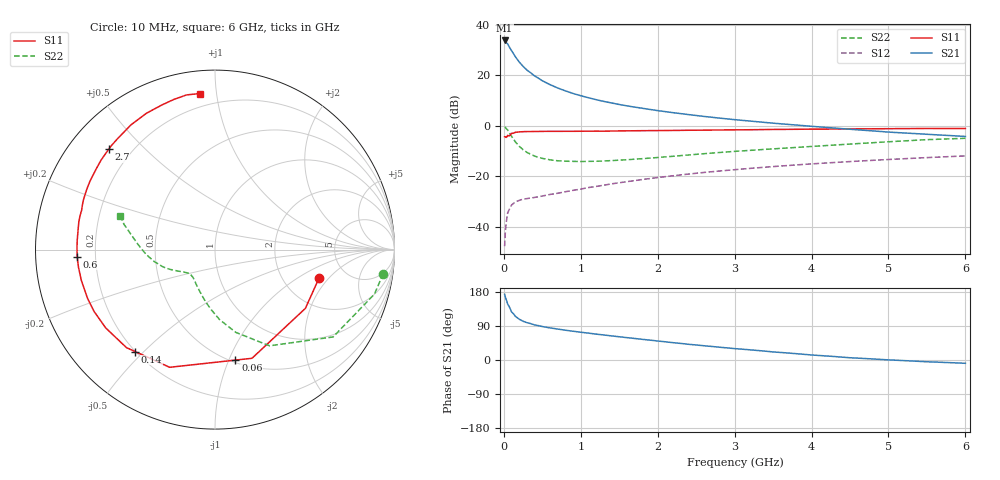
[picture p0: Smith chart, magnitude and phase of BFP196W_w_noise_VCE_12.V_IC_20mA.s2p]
! (c) 2017  Infineon Technologies AG, Munich
! Infineon Technologies  Discrete & RF Semiconductors
! BFP196W
! VCE =  12. V,  IC =  20 mA
! Common Emitter S-Parameters:  Jan 2017
# GHz  S  MA  R  50
!  f  S11  S21  S12  S22
! GHz  MAG  ANG  MAG  ANG  MAG  ANG  MAG  ANG
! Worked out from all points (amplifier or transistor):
!   77 points, 10 MHz to 6 GHz, reference 50 ohm
!   highest |S21| = 33.7 dB at 10 MHz (marker M1)
!   |S21| within 3 dB of that: start of sweep to 79.49 MHz
!   unconditionally stable (mu >= 1): 1.037 GHz to 3.219 GHz
!   at 130 MHz: K = 0.24, MSG = 29.5 dB, |S12| = -30.7 dB
!   at 2.2 GHz: K = 1.06, MAG = 10.9 dB, |S12| = -19.9 dB
!   at 6 GHz: K = 0.89, MSG = 3.9 dB, |S12| = -12.0 dB
!   lowest NFmin = 1.02 dB at 450 MHz
!   S11 on the Smith chart (normalised r, x): 10 MHz: 3.15, -1.58; 60 MHz: 0.52, -1.06; 140 MHz: 0.20, -0.47; 600 MHz: 0.13, -0.02; 2.7 GHz: 0.12, +0.39; 6 GHz: 0.12, +0.90
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0.01  0.6007 -15.5  48.35 173.3  0.0041 67.1  0.947 -8.1
0.02  0.6007 -33.0  46.95 165.6  0.008 70.0  0.9224 -15.6
0.05  0.6397 -71.2  41.07 147.4  0.0187 58.2  0.8182 -36.5
0.06  0.6261 -79.5  38.61 144.2  0.0202 54.6  0.7689 -40.2
0.1  0.7028 -111.1  30.41 126.9  0.0267 44.5  0.6165 -60.4
0.14  0.7217 -128.1  24.37 118.2  0.0301 38.3  0.5004 -72.1
0.15  0.7359 -132.1  22.98 115.3  0.031 37.0  0.4756 -75.9
0.2  0.7492 -144.4  18.11 107.7  0.033 33.8  0.3904 -86.3
0.25  0.7568 -153.0  14.87 102.3  0.035 33.1  0.3323 -94.1
0.3  0.7603 -158.9  12.55 98.5  0.0358 32.2  0.2945 -100.4
0.4  0.7643 -167.0  9.594 92.6  0.0378 34.7  0.2482 -110.0
0.5  0.7671 -172.8  7.716 88.3  0.0403 36.5  0.2241 -116.9
0.6  0.7687 -177.1  6.464 84.7  0.0433 38.9  0.2098 -122.3
0.8  0.7695 176.1  4.858 78.6  0.049 43.6  0.1971 -129.0
1.1  0.7745 168.2  3.551 70.9  0.0592 48.3  0.1956 -135.5
1.5  0.7833 159.4  2.612 61.3  0.0737 51.6  0.2066 -141.9
2.1  0.7978 147.2  1.886 48.0  0.0975 52.7  0.2399 -150.2
2.7  0.8144 136.6  1.461 35.8  0.1218 51.2  0.2849 -158.2
3.1  0.824 130.1  1.267 28.5  0.1378 49.3  0.3153 -163.7
4.1  0.8509 115.5  0.941 11.9  0.1781 43.3  0.3942 -177.9
5.1  0.8688 104.3  0.728 -0.6  0.2167 36.0  0.4871 168.4
6  0.8737 95.6  0.609 -8.7  0.2507 29.2  0.5598 160.4
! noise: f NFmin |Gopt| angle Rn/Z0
0.45  1.02  0.4  170  0.05
0.9  1.2  0.51  178  0.05
1.9  2.11  0.69  -155  0.11
2.4  2.55  0.74  -147  0.2
